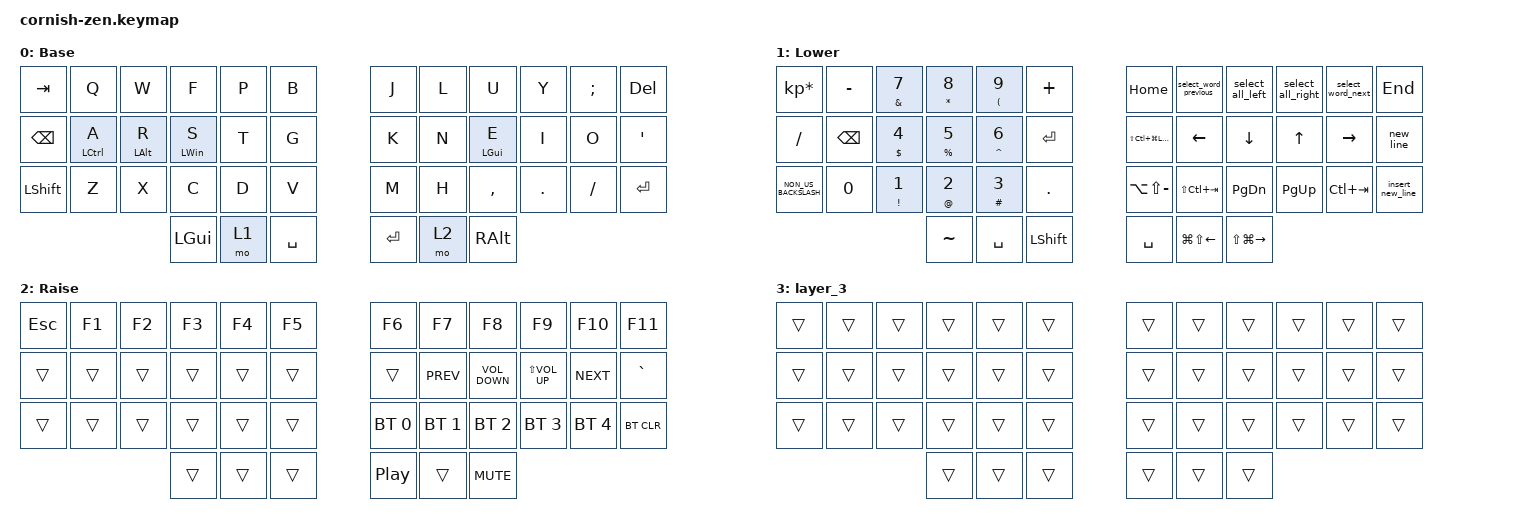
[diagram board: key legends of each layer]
/*
 * Copyright (c) 2020 The ZMK Contributors
 *
 * SPDX-License-Identifier: MIT
 */

#include <behaviors.dtsi>
#include <dt-bindings/zmk/bt.h>
#include <dt-bindings/zmk/keys.h>

/ {
    behaviors {
        HMR: HMR {
            compatible = "zmk,behavior-hold-tap";
            label = "HMR";
            bindings = <&kp>, <&kp>;

            #binding-cells = <2>;
            tapping-term-ms = <280>;
            quick-tap-ms = <175>;
            flavor = "tap-preferred";
            hold-trigger-key-positions = <0 1 2 3 4 5 12 13 14 15 16 17 24 25 26 27 28 29 36 37 38 39 40 41>;
            hold-trigger-on-release;
        };

        HML: HML {
            compatible = "zmk,behavior-hold-tap";
            label = "HML";
            bindings = <&kp>, <&kp>;

            #binding-cells = <2>;
            tapping-term-ms = <280>;
            quick-tap-ms = <175>;
            flavor = "tap-preferred";
            hold-trigger-on-release;
            hold-trigger-key-positions = <36 37 38 6 7 8 9 10 11 18 19 20 21 22 23 30 31 32 33 34 35 39 40 41>;
        };
    };

    macros {
        select_word_previous: select_word_previous {
            compatible = "zmk,behavior-macro";
            #binding-cells = <0>;
            bindings = <&kp LA(LS(LEFT_ARROW))>;
            label = "SELECT_WORD_PREVIOUS";
        };

        select_word_next: select_word_next {
            compatible = "zmk,behavior-macro";
            #binding-cells = <0>;
            bindings = <&kp LS(LA(RIGHT_ARROW))>;
            label = "SELECT_WORD_NEXT";
        };

        select_all_left: select_all_left {
            compatible = "zmk,behavior-macro";
            #binding-cells = <0>;
            bindings = <&kp LS(HOME)>;
            label = "SELECT_ALL_LEFT";
        };

        select_all_right: select_all_right {
            compatible = "zmk,behavior-macro";
            #binding-cells = <0>;
            bindings = <&kp LS(END)>;
            label = "SELECT_ALL_RIGHT";
        };

        select_line: select_line {
            compatible = "zmk,behavior-macro";
            #binding-cells = <0>;
            bindings = <&kp HOME &select_all_right>;
            label = "SELECT_LINE";
        };

        insert_new_line: insert_new_line {
            compatible = "zmk,behavior-macro";
            #binding-cells = <0>;
            bindings = <&kp UP_ARROW &new_line>;
            label = "INSERT_NEW_LINE";
        };

        new_line: new_line {
            compatible = "zmk,behavior-macro";
            #binding-cells = <0>;
            bindings = <&kp END &kp ENTER>;
            label = "NEW_LINE";
        };
    };

    combos {
        compatible = "zmk,combos";

        select_line {
            bindings = <&select_line>;
            key-positions = <8 9 37>;
        };
    };

    keymap {
        compatible = "zmk,keymap";

        default_layer {
            // -----------------------------------------------------------------------------------------
            // |  TAB |  Q  |  W  |  E  |  R  |  T  |   |  Y  |  U   |  I  |  O  |  P  | BKSP |
            // | CTRL |  A  |  S  |  D  |  F  |  G  |   |  H  |  J   |  K  |  L  |  ;  |  '   |
            // | SHFT |  Z  |  X  |  C  |  V  |  B  |   |  N  |  M   |  ,  |  .  |  /  | ESC  |
            //                    | GUI | LWR | SPC |   | ENT | RSE  | ALT |

            display-name = "Base";
            bindings = <
&kp TAB        &kp Q                &kp W            &kp F            &kp P  &kp B        &kp J    &kp L  &kp U            &kp Y    &kp SEMICOLON  &kp DELETE
&kp BACKSPACE  &HML LEFT_CONTROL A  &HML LEFT_ALT R  &HML LEFT_WIN S  &kp T  &kp G        &kp K    &kp N  &HMR LEFT_GUI E  &kp I    &kp O          &kp SQT
&kp LSHFT      &kp Z                &kp X            &kp C            &kp D  &kp V        &kp M    &kp H  &kp COMMA        &kp DOT  &kp FSLH       &kp ENTER
                                                     &kp LGUI         &mo 1  &kp SPACE    &kp RET  &mo 2  &kp RALT
            >;

            //
            //            bindings = <
            //&kp ESCAPE     &kp Q                &kp W            &kp E            &kp R  &kp T             &kp Y      &kp U      &kp I                 &kp O             &kp P                         &kp BSPC
            //&kp DEL        &HML LEFT_CONTROL A  &HML LEFT_ALT S  &HML LEFT_WIN D  &kp F  &kp G             &kp H      &kp J      &HMR LEFT_GUI K       &HMR RIGHT_ALT L  &HMR RIGHT_CONTROL SEMICOLON  &kp SQT
            //&kp BACKSLASH  &kp Z                &kp X            &kp C            &kp V  &kp B             &kp N      &kp M      &kp COMMA             &kp DOT           &kp FSLH                      &kp ENTER
            //                                                     &HML PLUS EQUAL  &mo 1  &kp LEFT_SHIFT    &kp SPACE  &lt 2 TAB  &HMR LS(MINUS) MINUS
            //            >;
        };

        nav_layer {
            // -----------------------------------------------------------------------------------------
            // |  TAB |  1  |  2  |  3  |  4  |  5  |   |  6  |  7  |  8  |  9  |  0  | BKSP |
            // | BTCLR| BT1 | BT2 | BT3 | BT4 | BT5 |   | LFT | DWN |  UP | RGT |     |      |
            // | SHFT |     |     |     |     |     |   |     |     |     |     |     |      |
            //                    | GUI |     | SPC |   | ENT |     | ALT |

            display-name = "Lower";
            bindings = <
&kp KP_MULTIPLY       &kp MINUS      &mt AMPERSAND N7          &mt ASTERISK N8       &mt LEFT_PARENTHESIS N9  &kp PLUS          &kp HOME                  &select_word_previous  &select_all_left   &select_all_right  &select_word_next  &kp END
&kp SLASH             &kp BACKSPACE  &mt DOLLAR NUMBER_4       &mt PERCENT N5        &mt CARET NUMBER_6       &kp ENTER         &kp LS(LC(LG(LEFT_ALT)))  &kp LEFT               &kp DOWN           &kp UP_ARROW       &kp RIGHT_ARROW    &new_line
&kp NON_US_BACKSLASH  &kp N0         &mt EXCLAMATION NUMBER_1  &mt AT_SIGN NUMBER_2  &mt HASH NUMBER_3        &kp PERIOD        &kp LA(LS(MINUS))         &kp LS(LC(TAB))        &kp PAGE_DOWN      &kp PG_UP          &kp LC(TAB)        &insert_new_line
                                                               &kp TILDE             &kp SPACE                &kp LEFT_SHIFT    &kp SPACE                 &kp LG(LS(LEFT))       &kp LS(LG(RIGHT))
            >;
        };

        raise_layer {
            // -----------------------------------------------------------------------------------------
            // |  TAB |  !  |  @  |  #  |  $  |  %  |   |  ^  |  &  |  *  |  (  |  )  | BKSP |
            // | CTRL |     |     |     |     |     |   |  -  |  =  |  [  |  ]  |  \  |  `   |
            // | SHFT |     |     |     |     |     |   |  _  |  +  |  {  |  }  | "|" |  ~   |
            //                    | GUI |     | SPC |   | ENT |     | ALT |

            display-name = "Raise";
            bindings = <
&kp ESC  &kp F1  &kp F2  &kp F3  &kp F4  &kp F5    &kp F6            &kp F7        &kp F8             &kp F9            &kp F10       &kp F11
&trans   &trans  &trans  &trans  &trans  &trans    &trans            &kp C_PREV    &kp K_VOLUME_DOWN  &kp LS(K_VOL_UP)  &kp C_NEXT    &kp GRAVE
&trans   &trans  &trans  &trans  &trans  &trans    &bt BT_SEL 0      &bt BT_SEL 1  &bt BT_SEL 2       &bt BT_SEL 3      &bt BT_SEL 4  &bt BT_CLR
                         &trans  &trans  &trans    &kp C_PLAY_PAUSE  &trans        &kp C_MUTE
            >;
        };

        layer_3 {
            bindings = <
&trans  &trans  &trans  &trans  &trans  &trans    &trans  &trans  &trans  &trans  &trans  &trans
&trans  &trans  &trans  &trans  &trans  &trans    &trans  &trans  &trans  &trans  &trans  &trans
&trans  &trans  &trans  &trans  &trans  &trans    &trans  &trans  &trans  &trans  &trans  &trans
                        &trans  &trans  &trans    &trans  &trans  &trans
            >;
        };
    };
};
